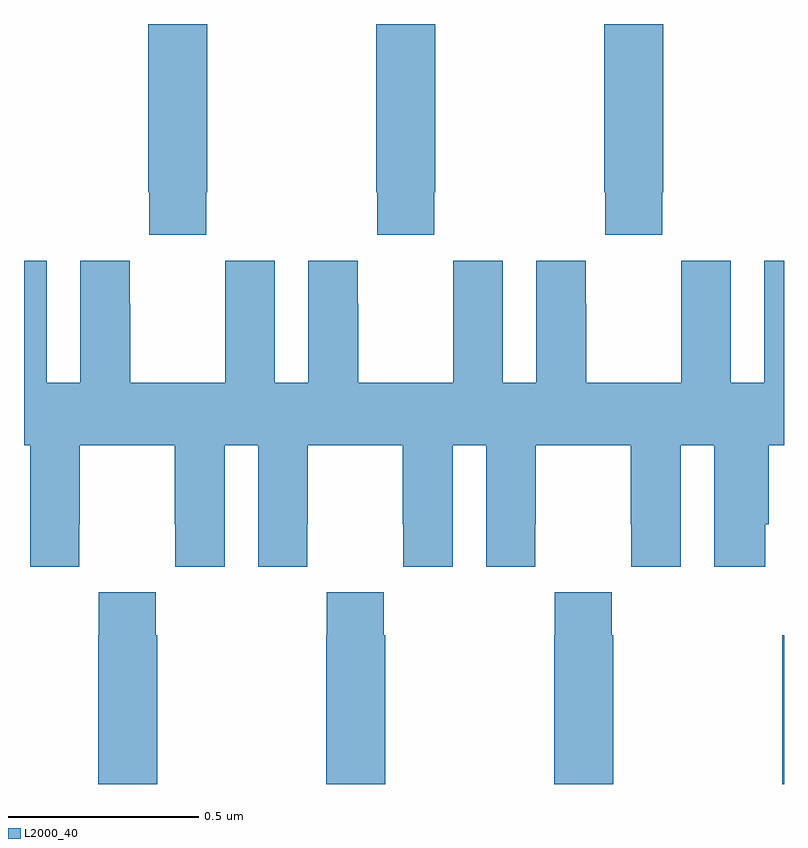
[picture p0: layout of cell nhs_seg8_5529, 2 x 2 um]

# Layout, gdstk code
import gdstk
lib = gdstk.Library(unit=1e-6, precision=1e-09)
def R(c, l, rs):  # rectangles x0, y0, x1, y1
    for r in rs: c.add(gdstk.rectangle(r[:2], r[2:], *l))
def P(c, l, *ps):  # polygons
    for p in ps: c.add(gdstk.Polygon(p, *l))
L2000_40 = (2000, 40)

nhs_seg8_5529 = lib.new_cell('nhs_seg8_5529')
R(nhs_seg8_5529, L2000_40, [(185.995,1156.9,186,1157.291)])
P(nhs_seg8_5529, L2000_40, [(185.679,1158.457),(185.682,1158.457),(185.682,1158.9),(185.527,1158.9),(185.527,1158.457),(185.529,1158.457),(185.529,1158.345),(185.679,1158.345)],
  [(185.079,1158.457),(185.082,1158.457),(185.082,1158.9),(184.927,1158.9),(184.927,1158.457),(184.929,1158.457),(184.929,1158.345),(185.079,1158.345)],
  [(184.479,1158.457),(184.482,1158.457),(184.482,1158.9),(184.327,1158.9),(184.327,1158.457),(184.329,1158.457),(184.329,1158.345),(184.479,1158.345)],
  [(184.146,1157.584),(184.147,1157.584),(184.147,1157.792),(184.397,1157.792),(184.397,1157.584),(184.398,1157.584),(184.398,1157.472),(184.528,1157.472),(184.528,1157.792),(184.616,1157.792),(184.616,1157.472),(184.746,1157.472),(184.746,1157.584),(184.747,1157.584),(184.747,1157.792),(184.997,1157.792),(184.997,1157.584),(184.998,1157.584),(184.998,1157.472),(185.128,1157.472),(185.128,1157.792),(185.216,1157.792),(185.216,1157.472),(185.346,1157.472),(185.346,1157.584),(185.347,1157.584),(185.347,1157.792),(185.597,1157.792),(185.597,1157.584),(185.598,1157.584),(185.598,1157.472),(185.728,1157.472),(185.728,1157.792),(185.816,1157.792),(185.816,1157.472),(185.95,1157.472),(185.95,1157.584),(185.96,1157.584),(185.96,1157.792),(186,1157.792),(186,1158.277),(185.948,1158.277),(185.948,1157.956),(185.86,1157.956),(185.86,1158.277),(185.73,1158.277),(185.73,1158.164),(185.729,1158.164),(185.729,1157.956),(185.479,1157.956),(185.479,1158.164),(185.478,1158.164),(185.478,1158.277),(185.348,1158.277),(185.348,1157.956),(185.26,1157.956),(185.26,1158.277),(185.13,1158.277),(185.13,1158.164),(185.129,1158.164),(185.129,1157.956),(184.879,1157.956),(184.879,1158.164),(184.878,1158.164),(184.878,1158.277),(184.748,1158.277),(184.748,1157.956),(184.66,1157.956),(184.66,1158.277),(184.53,1158.277),(184.53,1158.164),(184.529,1158.164),(184.529,1157.956),(184.279,1157.956),(184.279,1158.164),(184.278,1158.164),(184.278,1158.277),(184.148,1158.277),(184.148,1157.956),(184.06,1157.956),(184.06,1158.277),(184,1158.277),(184,1157.792),(184.016,1157.792),(184.016,1157.472),(184.146,1157.472)],
  [(184.35,1157.291),(184.347,1157.291),(184.347,1157.404),(184.197,1157.404),(184.197,1157.291),(184.195,1157.291),(184.195,1156.9),(184.35,1156.9)],
  [(184.95,1157.291),(184.947,1157.291),(184.947,1157.404),(184.797,1157.404),(184.797,1157.291),(184.795,1157.291),(184.795,1156.9),(184.95,1156.9)],
  [(185.55,1157.291),(185.547,1157.291),(185.547,1157.404),(185.397,1157.404),(185.397,1157.291),(185.395,1157.291),(185.395,1156.9),(185.55,1156.9)])

lib.write_gds('nhs_seg8_5529.gds')
